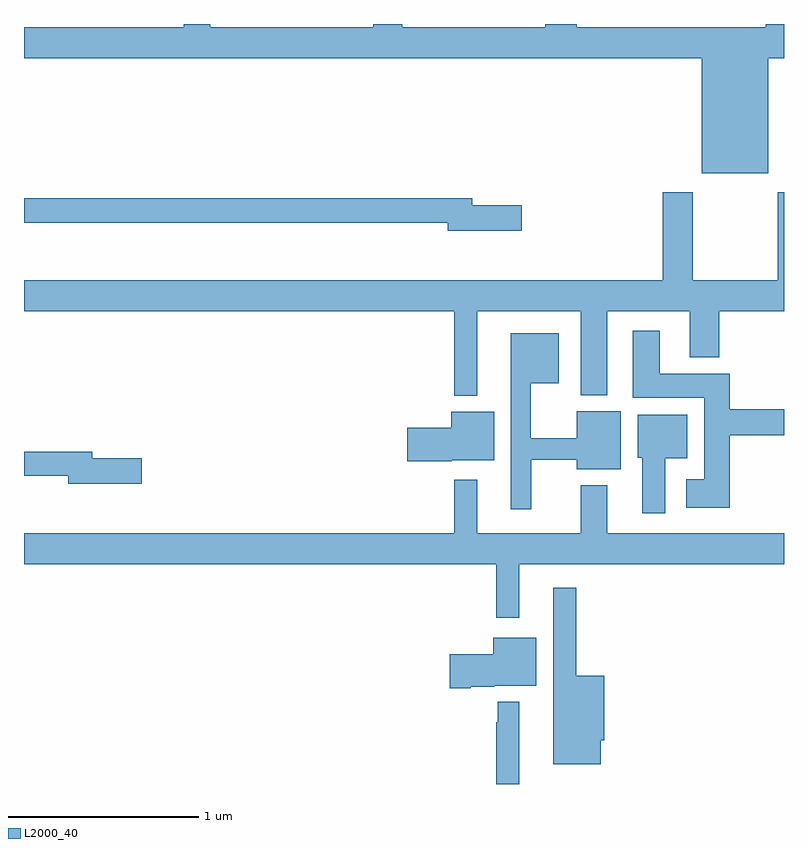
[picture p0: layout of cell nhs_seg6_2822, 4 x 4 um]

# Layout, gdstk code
import gdstk
lib = gdstk.Library(unit=1e-6, precision=1e-09)
def P(c, l, *ps):  # polygons
    for p in ps: c.add(gdstk.Polygon(p, *l))
L2000_40 = (2000, 40)

nhs_seg6_2822 = lib.new_cell('nhs_seg6_2822')
P(nhs_seg6_2822, L2000_40, [(280.904,963.484),(279.908,963.484),(279.908,963.5),(279.743,963.5),(279.743,963.484),(278.99,963.484),(278.99,963.5),(278.837,963.5),(278.837,963.484),(277.981,963.484),(277.981,963.5),(277.842,963.5),(277.842,963.484),(277,963.484),(277,963.32),(280.568,963.32),(280.568,962.714),(280.918,962.714),(280.918,963.32),(281,963.32),(281,963.5),(280.904,963.5)],
  [(279.385,961.988),(279.929,961.988),(279.929,961.547),(280.069,961.547),(280.069,961.988),(280.505,961.988),(280.505,961.745),(280.658,961.745),(280.658,961.988),(281,961.988),(281,962.614),(280.966,962.614),(280.966,962.152),(280.521,962.152),(280.521,962.614),(280.361,962.614),(280.361,962.152),(277,962.152),(277,961.988),(279.264,961.988),(279.264,961.544),(279.385,961.544)],
  [(279.619,962.546),(279.358,962.546),(279.358,962.582),(277,962.582),(277,962.454),(279.23,962.454),(279.23,962.411),(279.619,962.411)],
  [(280.715,961.336),(281,961.336),(281,961.472),(280.715,961.472),(280.715,961.66),(280.345,961.66),(280.345,961.885),(280.205,961.885),(280.205,961.532),(280.58,961.532),(280.58,961.105),(280.485,961.105),(280.485,960.953),(280.715,960.953)],
  [(279.67,961.206),(279.908,961.206),(279.908,961.157),(280.141,961.157),(280.141,961.462),(279.908,961.462),(279.908,961.319),(279.667,961.319),(279.667,961.61),(279.814,961.61),(279.814,961.873),(279.563,961.873),(279.563,960.945),(279.67,960.945)],
  [(279.252,961.205),(279.475,961.205),(279.475,961.459),(279.248,961.459),(279.248,961.376),(279.018,961.376),(279.018,961.198),(279.252,961.198)],
  [(280.375,961.214),(280.492,961.214),(280.492,961.444),(280.229,961.444),(280.229,961.218),(280.253,961.218),(280.253,960.924),(280.375,960.924)],
  [(277.621,961.214),(277.36,961.214),(277.36,961.25),(277,961.25),(277,961.122),(277.232,961.122),(277.232,961.079),(277.621,961.079)],
  [(279.607,960.656),(281,960.656),(281,960.82),(280.069,960.82),(280.069,961.072),(279.929,961.072),(279.929,960.82),(279.385,960.82),(279.385,961.102),(279.264,961.102),(279.264,960.82),(277,960.82),(277,960.656),(279.486,960.656),(279.486,960.375),(279.607,960.375)],
  [(280.036,959.73),(280.054,959.73),(280.054,960.07),(279.907,960.07),(279.907,960.532),(279.785,960.532),(279.785,959.603),(280.036,959.603)],
  [(279.352,960.011),(279.474,960.011),(279.474,960.017),(279.697,960.017),(279.697,960.271),(279.47,960.271),(279.47,960.183),(279.24,960.183),(279.24,960.005),(279.352,960.005)],
  [(279.607,959.932),(279.493,959.932),(279.493,959.825),(279.486,959.825),(279.486,959.5),(279.607,959.5)])

lib.write_gds('nhs_seg6_2822.gds')
